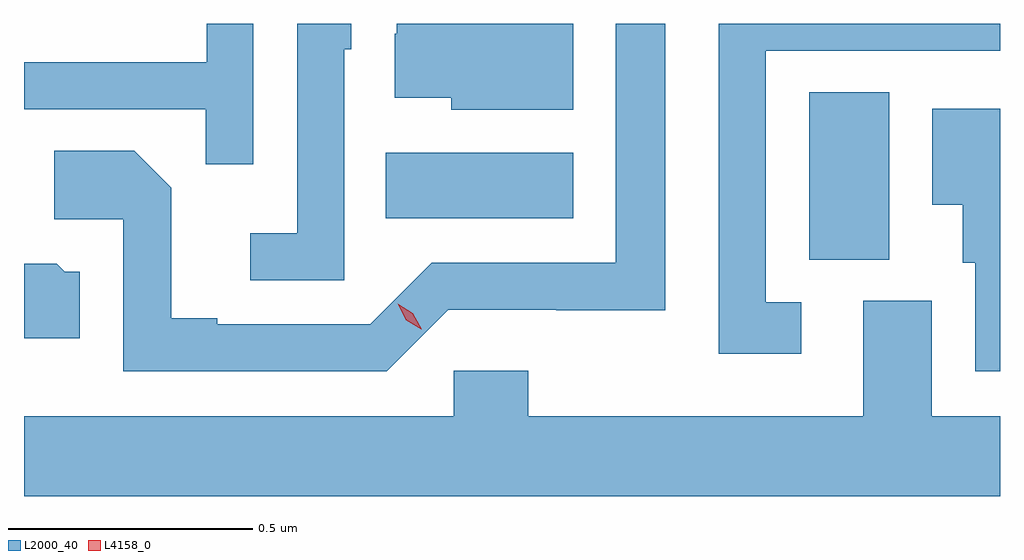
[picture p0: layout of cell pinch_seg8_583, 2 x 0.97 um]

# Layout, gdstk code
import gdstk
lib = gdstk.Library(unit=1e-6, precision=1e-09)
def R(c, l, rs):  # rectangles x0, y0, x1, y1
    for r in rs: c.add(gdstk.rectangle(r[:2], r[2:], *l))
def P(c, l, *ps):  # polygons
    for p in ps: c.add(gdstk.Polygon(p, *l))
L2000_40 = (2000, 40)
L4158_0 = (4158, 0)

pinch_seg8_583 = lib.new_cell('pinch_seg8_583')
R(pinch_seg8_583, L2000_40, [(161.102,1112.989,161.266,1113.332), (160.234,1113.074,160.618,1113.208)])
P(pinch_seg8_583, L2000_40, [(160.362,1112.886),(160.584,1112.886),(160.584,1112.885),(160.807,1112.885),(160.807,1113.472),(160.706,1113.472),(160.706,1112.982),(160.329,1112.982),(160.203,1112.856),(159.889,1112.856),(159.889,1112.869),(159.795,1112.869),(159.795,1113.136),(159.719,1113.212),(159.555,1113.212),(159.555,1113.072),(159.696,1113.072),(159.696,1112.76),(160.236,1112.76)],
  [(161.086,1112.901),(161.013,1112.901),(161.013,1113.417),(161.493,1113.417),(161.493,1113.472),(160.917,1113.472),(160.917,1112.796),(161.086,1112.796)],
  [(159.963,1113.472),(159.867,1113.472),(159.867,1113.393),(159.493,1113.393),(159.493,1113.297),(159.865,1113.297),(159.865,1113.184),(159.963,1113.184)],
  [(160.618,1113.472),(160.257,1113.472),(160.257,1113.452),(160.253,1113.452),(160.253,1113.32),(160.368,1113.32),(160.368,1113.296),(160.618,1113.296)],
  [(160.149,1113.42),(160.164,1113.42),(160.164,1113.472),(160.053,1113.472),(160.053,1113.043),(159.957,1113.043),(159.957,1112.946),(160.149,1112.946)],
  [(161.493,1113.298),(161.354,1113.298),(161.354,1113.101),(161.417,1113.101),(161.417,1112.982),(161.442,1112.982),(161.442,1112.76),(161.493,1112.76)],
  [(159.607,1112.964),(159.576,1112.964),(159.56,1112.98),(159.493,1112.98),(159.493,1112.828),(159.607,1112.828)],
  [(161.493,1112.668),(161.353,1112.668),(161.353,1112.904),(161.213,1112.904),(161.213,1112.668),(160.526,1112.668),(160.526,1112.761),(160.374,1112.761),(160.374,1112.668),(159.493,1112.668),(159.493,1112.504),(161.493,1112.504)])
P(pinch_seg8_583, L4158_0, [(160.307,1112.846),(160.276,1112.865),(160.259,1112.898),(160.259,1112.898),(160.259,1112.898),(160.29,1112.879),(160.308,1112.846),(160.308,1112.846)])

lib.write_gds('pinch_seg8_583.gds')
